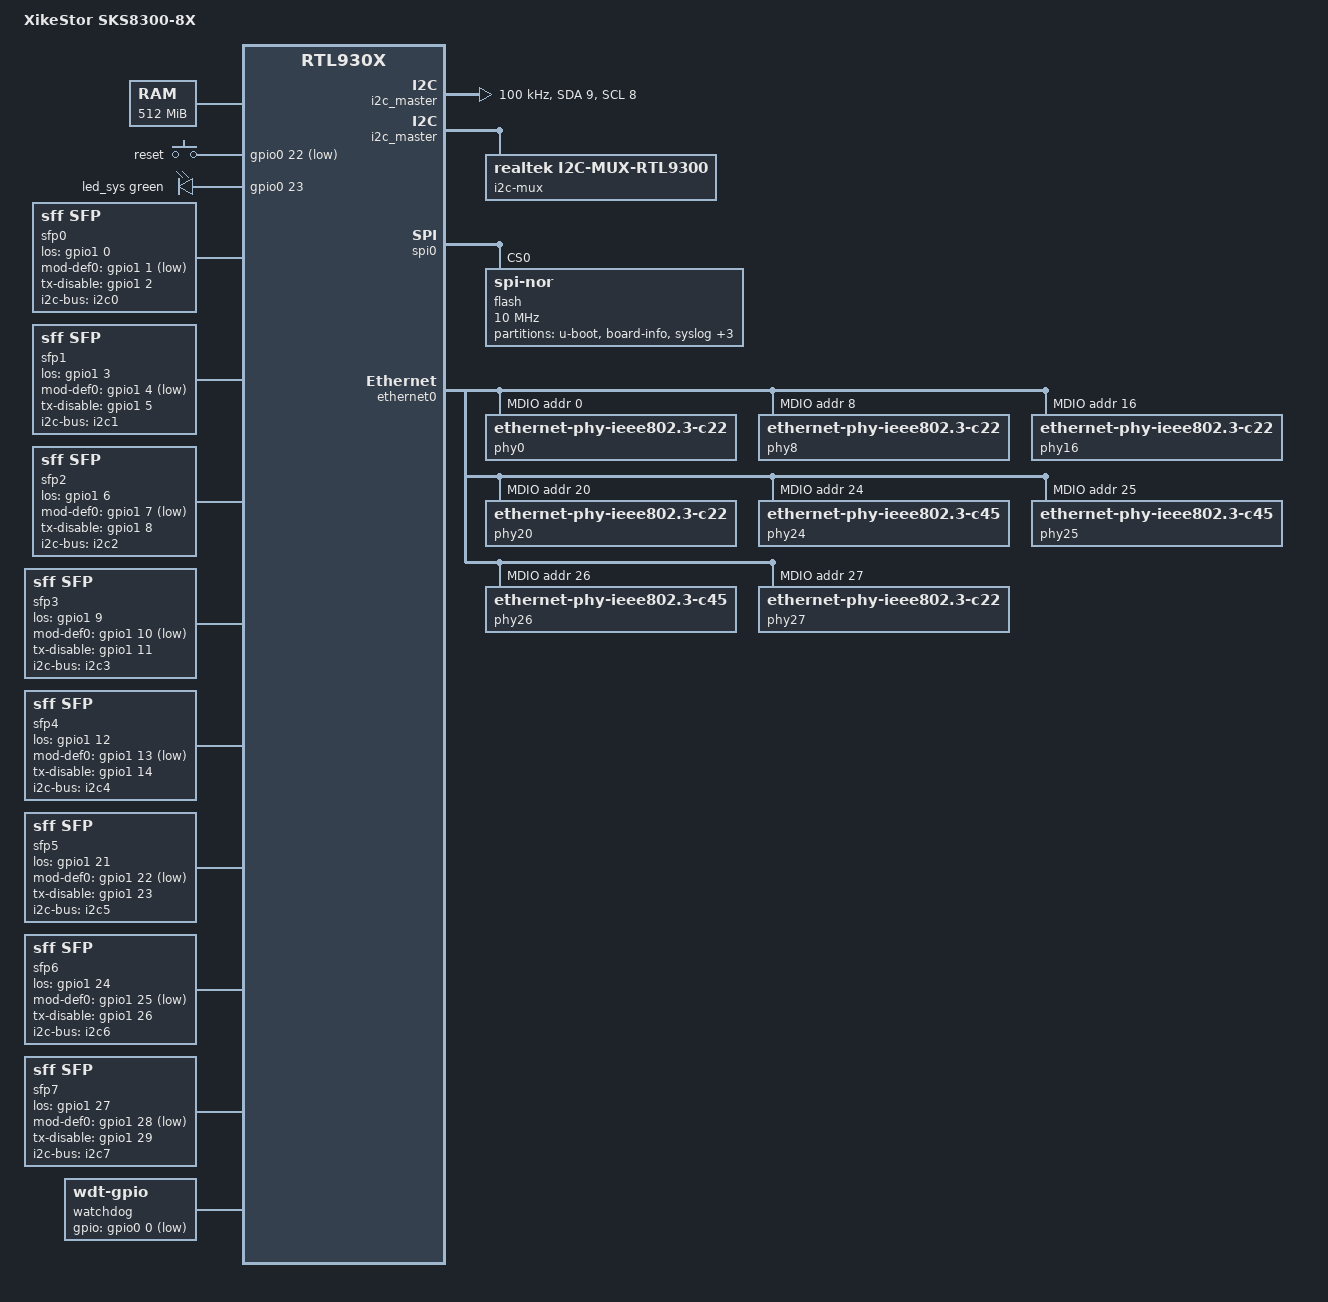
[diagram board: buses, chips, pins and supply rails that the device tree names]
// SPDX-License-Identifier: GPL-2.0-or-later
/dts-v1/;

#include "rtl930x.dtsi"

#include <dt-bindings/input/input.h>
#include <dt-bindings/gpio/gpio.h>
#include <dt-bindings/leds/common.h>

/ {
	compatible = "xikestor,sks8300-8x", "realtek,rtl930x-soc";
	model = "XikeStor SKS8300-8X";

	memory@0 {
		device_type = "memory";
		reg = <0x00000000 0x10000000>, /* first 256 MiB */
		      <0x20000000 0x10000000>; /* remaining 256 MiB */
	};

	aliases {
		led-boot = &led_sys;
		led-failsafe = &led_sys;
		led-running = &led_sys;
		led-upgrade = &led_sys;
	};

	chosen {
		stdout-path = "serial0:9600n8";
	};

	i2c_master: i2c@1b00036c {
		compatible = "realtek,rtl9300-i2c";
		reg = <0x1b00036c 0x3c>;
		#address-cells = <1>;
		#size-cells = <0>;
		scl-pin = <8>;
		sda-pin = <9>;
		clock-frequency = <100000>;
	};

	i2c-mux {
		compatible = "realtek,i2c-mux-rtl9300";
		i2c-parent = <&i2c_master>;
		#address-cells = <1>;
		#size-cells = <0>;

		i2c0: i2c@0 {
			reg = <0>;
			scl-pin = <8>;
			sda-pin = <9>;
		};

		i2c1: i2c@1 {
			reg = <1>;
			scl-pin = <8>;
			sda-pin = <10>;
		};

		i2c2: i2c@2 {
			reg = <2>;
			scl-pin = <8>;
			sda-pin = <11>;
		};

		i2c3: i2c@3 {
			reg = <3>;
			scl-pin = <8>;
			sda-pin = <12>;
		};

		i2c4: i2c@4 {
			reg = <4>;
			scl-pin = <8>;
			sda-pin = <13>;
		};

		i2c5: i2c@5 {
			reg = <5>;
			scl-pin = <8>;
			sda-pin = <14>;
		};

		i2c6: i2c@6 {
			reg = <6>;
			scl-pin = <8>;
			sda-pin = <15>;
		};

		i2c7: i2c@7 {
			reg = <7>;
			scl-pin = <8>;
			sda-pin = <16>;
		};
	};

	keys {
		compatible = "gpio-keys";

		button-reset {
			label = "reset";
			gpios = <&gpio0 22 GPIO_ACTIVE_LOW>;
			linux,code = <KEY_RESTART>;
		};
	};

	leds {
		compatible = "gpio-leds";

		led_sys: led-0 {
			gpios = <&gpio0 23 GPIO_ACTIVE_HIGH>;
			color = <LED_COLOR_ID_GREEN>;
			function = LED_FUNCTION_STATUS;
		};
	};

	sfp0: sfp-p1 {
		compatible = "sff,sfp";
		i2c-bus = <&i2c0>;
		los-gpio = <&gpio1 0 GPIO_ACTIVE_HIGH>;
		//tx-fault-gpio = <&gpio1 20 GPIO_ACTIVE_HIGH>;
		mod-def0-gpio = <&gpio1 1 GPIO_ACTIVE_LOW>;
		tx-disable-gpio = <&gpio1 2 GPIO_ACTIVE_HIGH>;
	};

	sfp1: sfp-p2 {
		compatible = "sff,sfp";
		i2c-bus = <&i2c1>;
		los-gpio = <&gpio1 3 GPIO_ACTIVE_HIGH>;
		//tx-fault-gpio = <&gpio1 20 GPIO_ACTIVE_HIGH>;
		mod-def0-gpio = <&gpio1 4 GPIO_ACTIVE_LOW>;
		tx-disable-gpio = <&gpio1 5 GPIO_ACTIVE_HIGH>;
	};

	sfp2: sfp-p3 {
		compatible = "sff,sfp";
		i2c-bus = <&i2c2>;
		los-gpio = <&gpio1 6 GPIO_ACTIVE_HIGH>;
		//tx-fault-gpio = <&gpio1 20 GPIO_ACTIVE_HIGH>;
		mod-def0-gpio = <&gpio1 7 GPIO_ACTIVE_LOW>;
		tx-disable-gpio = <&gpio1 8 GPIO_ACTIVE_HIGH>;
	};

	sfp3: sfp-p4 {
		compatible = "sff,sfp";
		i2c-bus = <&i2c3>;
		los-gpio = <&gpio1 9 GPIO_ACTIVE_HIGH>;
		//tx-fault-gpio = <&gpio1 20 GPIO_ACTIVE_HIGH>;
		mod-def0-gpio = <&gpio1 10 GPIO_ACTIVE_LOW>;
		tx-disable-gpio = <&gpio1 11 GPIO_ACTIVE_HIGH>;
	};

	sfp4: sfp-p5 {
		compatible = "sff,sfp";
		i2c-bus = <&i2c4>;
		los-gpio = <&gpio1 12 GPIO_ACTIVE_HIGH>;
		//tx-fault-gpio = <&gpio1 20 GPIO_ACTIVE_HIGH>;
		mod-def0-gpio = <&gpio1 13 GPIO_ACTIVE_LOW>;
		tx-disable-gpio = <&gpio1 14 GPIO_ACTIVE_HIGH>;
	};

	sfp5: sfp-p6 {
		compatible = "sff,sfp";
		i2c-bus = <&i2c5>;
		los-gpio = <&gpio1 21 GPIO_ACTIVE_HIGH>;
		//tx-fault-gpio = <&gpio1 20 GPIO_ACTIVE_HIGH>;
		mod-def0-gpio = <&gpio1 22 GPIO_ACTIVE_LOW>;
		tx-disable-gpio = <&gpio1 23 GPIO_ACTIVE_HIGH>;
	};

	sfp6: sfp-p7 {
		compatible = "sff,sfp";
		i2c-bus = <&i2c6>;
		los-gpio = <&gpio1 24 GPIO_ACTIVE_HIGH>;
		//tx-fault-gpio = <&gpio1 20 GPIO_ACTIVE_HIGH>;
		mod-def0-gpio = <&gpio1 25 GPIO_ACTIVE_LOW>;
		tx-disable-gpio = <&gpio1 26 GPIO_ACTIVE_HIGH>;
	};

	sfp7: sfp-p8 {
		compatible = "sff,sfp";
		i2c-bus = <&i2c7>;
		los-gpio = <&gpio1 27 GPIO_ACTIVE_HIGH>;
		//tx-fault-gpio = <&gpio1 20 GPIO_ACTIVE_HIGH>;
		mod-def0-gpio = <&gpio1 28 GPIO_ACTIVE_LOW>;
		tx-disable-gpio = <&gpio1 29 GPIO_ACTIVE_HIGH>;
	};

	/*
	 * Pericom PT7A7514WE
	 * handled by System LED output of RTL9303 on stock FW
	 */
	watchdog {
		compatible = "linux,wdt-gpio";
		gpios = <&gpio0 0 GPIO_ACTIVE_LOW>;
		always-running;
		hw_algo = "toggle";
		hw_margin_ms = <100>;
		pinctrl-0 = <&pinmux_disable_sys_led>;
		pinctrl-names = "default";
	};
};

&pinmux_ext_gpio_glb {
	status = "okay";
};

&gpio1 {
	status = "okay";
};

&gpio2 {
	status = "okay";
};

&spi0 {
	status = "okay";

	flash@0 {
		compatible = "jedec,spi-nor";
		reg = <0>;
		spi-max-frequency = <10000000>;

		partitions {
			compatible = "fixed-partitions";
			#address-cells = <1>;
			#size-cells = <1>;

			partition@0 {
				label = "u-boot";
				reg = <0x0 0x100000>;
				read-only;
			};

			/* "flash_raw" on stock */
			partition@100000 {
				label = "board-info";
				reg = <0x100000 0x30000>;
				read-only;
			};

			partition@130000 {
				label = "syslog";
				reg = <0x130000 0xd0000>;
				read-only;
			};

			/* "flash_user" on stock */
			partition@200000 {
				compatible = "fixed-partitions";
				label = "firmware";
				reg = <0x200000 0x1e00000>;
				#address-cells = <1>;
				#size-cells = <1>;

				partition@0 {
					label = "kernel";
					reg = <0x0 0x800000>;
				};

				partition@800000 {
					label = "rootfs";
					reg = <0x800000 0x1600000>;
				};
			};
		};
	};
};

&ethernet0 {
	mdio: mdio-bus {
		compatible = "realtek,rtl838x-mdio";
		regmap = <&ethernet0>;
		#address-cells = <1>;
		#size-cells = <0>;

		phy0: ethernet-phy@0 {
			compatible = "ethernet-phy-ieee802.3-c22";
			reg = <0>;
			phy-is-integrated;
			rtl9300,smi-address = <0 0>;
			sds = <2>;
		};

		phy8: ethernet-phy@8 {
			compatible = "ethernet-phy-ieee802.3-c22";
			reg = <8>;
			phy-is-integrated;
			rtl9300,smi-address = <0 8>;
			sds = <3>;
		};

		phy16: ethernet-phy@16 {
			reg = <16>;
			compatible = "ethernet-phy-ieee802.3-c22";
			phy-is-integrated;
			rtl9300,smi-address = <0 16>;
			sds = <4>;
		};

		phy20: ethernet-phy@20 {
			compatible = "ethernet-phy-ieee802.3-c22";
			reg = <20>;
			phy-is-integrated;
			rtl9300,smi-address = <0 3>;
			sds = <5>;
		};

		phy24: ethernet-phy@24 {
			compatible = "ethernet-phy-ieee802.3-c45";
			reg = <24>;
			phy-is-integrated;
			rtl9300,smi-address = <1 8>;
			sds = <6>;
		};

		phy25: ethernet-phy@25 {
			compatible = "ethernet-phy-ieee802.3-c45";
			reg = <25>;
			phy-is-integrated;
			rtl9300,smi-address = <2 8>;
			sds = <7>;
		};

		phy26: ethernet-phy@26 {
			compatible = "ethernet-phy-ieee802.3-c45";
			reg = <26>;
			phy-is-integrated;
			rtl9300,smi-address = <3 8>;
			sds = <8>;
		};

		phy27: ethernet-phy@27 {
			compatible = "ethernet-phy-ieee802.3-c22";
			phy-is-integrated;
			reg = <27>;
			rtl9300,smi-address = <4 0>;
			sds = <9>;
		};
	};
};

&switch0 {
	ports {
		#address-cells = <1>;
		#size-cells = <0>;

		port@0 {
			reg = <0>;
			label = "lan1";
			phy-handle = <&phy0>;
			phy-mode = "10gbase-r";
			sfp = <&sfp0>;
			managed = "in-band-status";
		};

		port@8 {
			reg = <8>;
			label = "lan2";
			phy-handle = <&phy8>;
			phy-mode = "10gbase-r";
			sfp = <&sfp1>;
			managed = "in-band-status";
		};

		port@16 {
			reg = <16>;
			label = "lan3";
			phy-handle = <&phy16>;
			phy-mode = "10gbase-r";
			sfp = <&sfp2>;
			managed = "in-band-status";
		};

		port@20 {
			reg = <20>;
			label = "lan4";
			phy-handle = <&phy20>;
			phy-mode = "10gbase-r";
			sfp = <&sfp3>;
			managed = "in-band-status";
		};

		port@24 {
			reg = <24>;
			label = "lan9";
			phy-handle = <&phy24>;
			phy-mode = "10gbase-r";
			sfp = <&sfp4>;
			managed = "in-band-status";
		};

		port@25 {
			reg = <25>;
			label = "lan10";
			phy-handle = <&phy25>;
			phy-mode = "10gbase-r";
			sfp = <&sfp5>;
			managed = "in-band-status";
		};

		port@26 {
			reg = <26>;
			label = "lan11";
			phy-handle = <&phy26>;
			phy-mode = "10gbase-r";
			sfp = <&sfp6>;
			managed = "in-band-status";
		};

		port@27 {
			reg = <27>;
			label = "lan12";
			phy-handle = <&phy27>;
			phy-mode = "10gbase-r";
			sfp = <&sfp7>;
			managed = "in-band-status";
		};

		port@28 {
			ethernet = <&ethernet0>;
			reg = <28>;
			phy-mode = "internal";

			fixed-link {
				speed = <10000>;
				full-duplex;
			};
		};
	};
};
